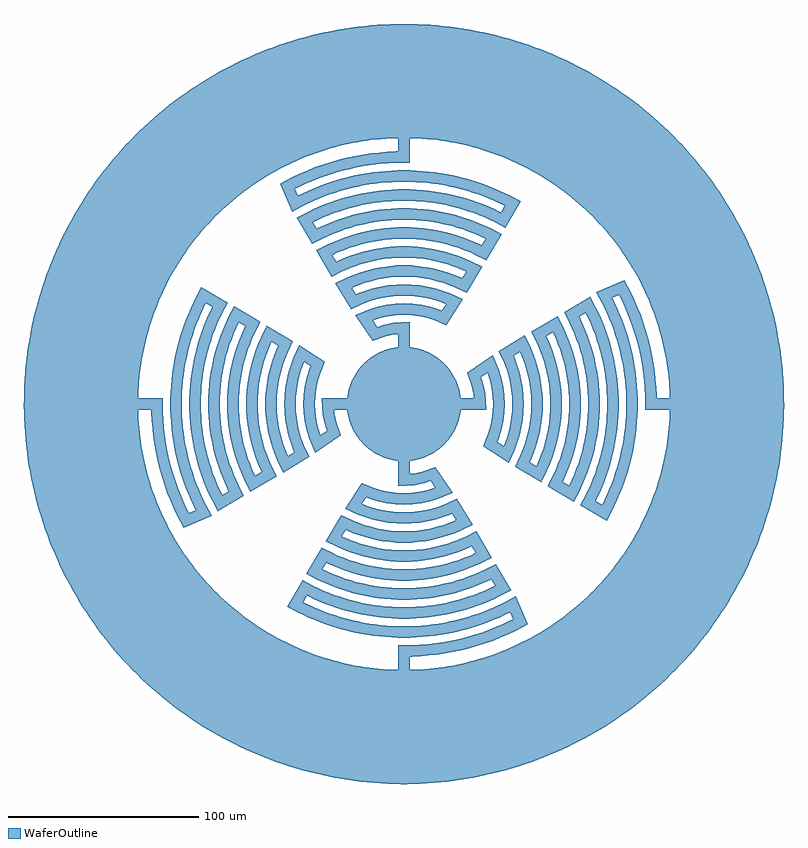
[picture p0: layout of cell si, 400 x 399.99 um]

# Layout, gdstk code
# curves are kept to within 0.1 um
import gdstk
lib = gdstk.Library(unit=1e-6, precision=1e-09)
def P(c, l, *ps):  # polygons
    for p in ps: c.add(gdstk.Polygon(p, *l))
WaferOutline = (1, 0)

c_si = lib.new_cell('si')
P(c_si, WaferOutline, [(-0.263,-29.999),(-3.406,-29.806),(-5.997,-29.394),(-8.544,-28.758),(-11.511,-27.704),(-13.888,-26.592),(-16.599,-24.99),(-19.127,-23.112),(-21.074,-21.352),(-23.196,-19.025),(-24.77,-16.925),(-26.407,-14.236),(-27.754,-11.389),(-28.795,-8.418),(-29.42,-5.869),(-29.821,-3.275),(-30,-0.131),(-29.848,3.014),(-29.471,5.611),(-28.72,8.669),(-27.853,11.146),(-26.531,14.004),(-24.917,16.708),(-23.361,18.822),(-21.26,21.167),(-18.924,23.279),(-16.817,24.843),(-14.581,26.218),(-11.753,27.602),(-8.795,28.682),(-5.74,29.446),(-3.145,29.835),(0,30),(3.145,29.835),(5.74,29.446),(8.795,28.682),(11.753,27.602),(14.581,26.218),(16.817,24.843),(18.924,23.279),(21.26,21.167),(23.361,18.822),(24.917,16.708),(26.531,14.004),(27.853,11.146),(28.72,8.669),(29.471,5.611),(29.848,3.014),(30,-0.131),(29.821,-3.275),(29.42,-5.869),(28.795,-8.418),(27.754,-11.389),(26.407,-14.236),(24.77,-16.925),(23.196,-19.025),(21.074,-21.352),(19.127,-23.112),(16.599,-24.99),(13.888,-26.592),(11.511,-27.704),(8.544,-28.758),(5.482,-29.495),(2.36,-29.907)],
  [(-1.75,-199.992),(-8.748,-199.809),(-19.222,-199.074),(-29.644,-197.791),(-39.983,-195.963),(-50.212,-193.594),(-60.303,-190.692),(-70.228,-187.265),(-79.959,-183.321),(-89.47,-178.872),(-98.734,-173.93),(-104.761,-170.368),(-113.558,-164.635),(-122.041,-158.448),(-130.189,-151.825),(-135.422,-147.176),(-142.96,-139.866),(-150.103,-132.17),(-156.833,-124.111),(-163.13,-115.709),(-167.08,-109.929),(-172.619,-101.009),(-177.682,-91.81),(-182.255,-82.359),(-186.327,-72.68),(-188.756,-66.115),(-191.966,-56.117),(-194.646,-45.965),(-196.79,-35.687),(-198.392,-25.31),(-199.447,-14.863),(-199.845,-7.874),(-199.983,2.625),(-199.569,13.117),(-198.606,23.573),(-197.095,33.963),(-195.786,40.84),(-193.373,51.059),(-191.467,57.795),(-188.17,67.764),(-184.355,77.546),(-181.528,83.95),(-176.872,93.362),(-171.728,102.515),(-166.111,111.387),(-160.037,119.951),(-155.741,125.478),(-148.941,133.479),(-142.818,140),(0,140),(-7.347,139.807),(-17.109,138.951),(-26.787,137.414),(-33.962,135.818),(-41.043,133.849),(-50.305,130.65),(-59.321,126.811),(-65.894,123.523),(-72.286,119.895),(-80.496,114.544),(-86.396,110.162),(-93.891,103.849),(-100.925,97.027),(-105.878,91.596),(-112.026,83.966),(-116.278,77.971),(-120.21,71.761),(-124.935,63.176),(-129.048,54.282),(-131.719,47.435),(-134.715,38.105),(-136.529,30.982),(-138.362,21.356),(-139.292,14.065),(-139.838,6.736),(-139.966,-3.063),(-139.613,-10.404),(-138.543,-20.145),(-136.795,-29.786),(-135.043,-36.925),(-132.919,-43.961),(-129.518,-53.151),(-125.483,-62.081),(-122.052,-68.581),(-118.285,-74.892),(-112.756,-82.982),(-108.246,-88.785),(-101.77,-96.14),(-94.796,-103.023),(-89.258,-107.856),(-81.495,-113.836),(-75.408,-117.956),(-66.973,-122.942),(-60.428,-126.287),(-51.446,-130.205),(-44.542,-132.725),(-35.149,-135.516),(-27.988,-137.174),(-20.751,-138.454),(-11.015,-139.566),(-1.225,-139.995),(6.124,-139.866),(13.456,-139.352),(23.17,-138.069),(30.385,-136.663),(39.87,-134.203),(49.16,-131.085),(55.972,-128.325),(64.811,-124.095),(71.234,-120.523),(79.49,-115.245),(85.429,-110.914),(91.132,-106.278),(98.343,-99.643),(103.437,-94.344),(108.246,-88.785),(112.756,-82.982),(116.956,-76.95),(119.577,-72.81),(123.234,-66.434),(126.55,-59.875),(129.518,-53.151),(131.299,-48.586),(133.668,-41.628),(135.668,-34.555),(137.295,-27.388),(138.543,-20.145),(139.163,-15.284),(139.774,-7.959),(139.999,-0.613),(139.838,6.736),(139.292,14.065),(138.362,21.356),(137.529,26.185),(135.966,33.367),(134.715,38.105),(132.529,45.122),(129.978,52.016),(127.069,58.765),(124.935,63.176),(121.447,69.646),(117.625,75.924),(113.478,81.992),(109.019,87.835),(104.259,93.435),(99.211,98.778),(95.694,102.19),(90.199,107.071),(82.488,113.118),(74.373,118.611),(65.894,123.523),(57.092,127.83),(52.584,129.75),(45.702,132.33),(38.694,134.547),(33.962,135.818),(24.378,137.861),(14.675,139.229),(9.793,139.657),(2.45,139.979),(-142.818,140),(-136.705,145.985),(-128.855,152.959),(-120.65,159.51),(-112.113,165.622),(-103.266,171.278),(-94.135,176.462),(-84.744,181.159),(-78.352,184.013),(-68.587,187.872),(-58.632,191.213),(-48.516,194.026),(-38.267,196.305),(-27.912,198.043),(-17.48,199.235),(-10.496,199.724),(0,200),(10.496,199.724),(17.48,199.235),(27.912,198.043),(38.267,196.305),(48.516,194.026),(58.632,191.213),(68.587,187.872),(75.12,185.357),(84.744,181.159),(94.135,176.462),(100.253,173.059),(109.197,167.559),(117.84,161.597),(126.159,155.19),(134.129,148.355),(141.73,141.112),(148.941,133.479),(153.521,128.185),(160.037,119.951),(166.111,111.387),(171.728,102.515),(176.872,93.362),(181.528,83.95),(184.355,77.546),(188.17,67.764),(191.467,57.795),(194.237,47.667),(196.471,37.407),(198.163,27.045),(198.988,20.093),(199.768,9.622),(199.998,-0.875),(199.677,-11.37),(198.805,-21.834),(197.919,-28.778),(196.136,-39.125),(193.812,-49.365),(191.966,-56.117),(188.756,-66.115),(185.026,-75.93),(180.786,-85.536),(176.048,-94.906),(172.619,-101.009),(167.08,-109.929),(161.08,-118.546),(154.637,-126.836),(147.767,-134.777),(140.49,-142.346),(132.826,-149.523),(124.796,-156.288),(119.25,-160.56),(110.659,-166.597),(101.763,-172.175),(92.587,-177.279),(83.155,-181.893),(73.495,-186.007),(63.631,-189.608),(53.593,-192.686),(43.407,-195.233),(36.547,-196.632),(26.178,-198.279),(15.735,-199.38),(8.748,-199.809)])
c_si.add(gdstk.FlexPath([(0,0),(0,40),(-5.221,39.658),(-10.353,38.637),(-15.307,36.955),(-21.131,45.315),(-17.101,46.985),(-12.941,48.296),(-8.682,49.24),(-4.358,49.81),(0,50),(4.358,49.81),(8.682,49.24),(12.941,48.296),(17.101,46.985),(21.131,45.315),(26.537,53.812),(22.961,55.433),(19.286,56.816),(15.529,57.956),(11.705,58.847),(7.832,59.487),(3.924,59.872),(0,60),(-3.924,59.872),(-7.832,59.487),(-11.705,58.847),(-15.529,57.956),(-19.286,56.816),(-22.961,55.433),(-26.537,53.812),(-31.779,62.37),(-28.472,63.948),(-25.086,65.351),(-21.631,66.574),(-18.117,67.615),(-14.554,68.47),(-10.95,69.138),(-7.317,69.617),(-3.664,69.904),(0,70),(3.664,69.904),(7.317,69.617),(10.95,69.138),(14.554,68.47),(18.117,67.615),(21.631,66.574),(25.086,65.351),(28.472,63.948),(31.779,62.37),(36.94,70.961),(33.809,72.505),(30.615,73.91),(27.362,75.175),(24.056,76.297),(20.706,77.274),(17.315,78.104),(13.892,78.785),(10.442,79.316),(6.972,79.696),(3.49,79.924),(0,80),(-3.49,79.924),(-6.972,79.696),(-10.442,79.316),(-13.892,78.785),(-17.315,78.104),(-20.706,77.274),(-24.056,76.297),(-27.362,75.175),(-30.615,73.91),(-33.809,72.505),(-36.94,70.961),(-42.054,79.57),(-39.05,81.087),(-35.99,82.491),(-32.881,83.779),(-29.725,84.949),(-26.528,86.002),(-23.294,86.933),(-20.027,87.744),(-16.732,88.431),(-13.414,88.995),(-10.077,89.434),(-6.726,89.748),(-3.365,89.937),(0,90),(3.365,89.937),(6.726,89.748),(10.077,89.434),(13.414,88.995),(16.732,88.431),(20.027,87.744),(23.294,86.933),(26.528,86.002),(29.725,84.949),(32.881,83.779),(35.99,82.491),(39.05,81.087),(42.054,79.57),(47.14,88.192),(44.229,89.687),(41.271,91.086),(38.268,92.388),(35.225,93.591),(32.144,94.693),(29.028,95.694),(25.882,96.593),(22.708,97.388),(19.509,98.079),(16.29,98.664),(13.053,99.144),(9.802,99.518),(6.54,99.786),(3.272,99.946),(0,100),(-3.272,99.946),(-6.54,99.786),(-9.802,99.518),(-13.053,99.144),(-16.29,98.664),(-19.509,98.079),(-22.708,97.388),(-25.882,96.593),(-29.028,95.694),(-32.144,94.693),(-35.225,93.591),(-38.268,92.388),(-41.271,91.086),(-44.229,89.687),(-47.14,88.192),(-52.206,96.822),(-49.368,98.3),(-46.488,99.694),(-43.569,101.004),(-40.613,102.228),(-37.622,103.366),(-34.6,104.417),(-31.548,105.379),(-28.47,106.252),(-25.368,107.035),(-22.244,107.727),(-19.101,108.329),(-15.943,108.839),(-12.77,109.256),(-9.587,109.581),(-6.396,109.814),(-3.199,109.953),(0,110),(3.199,109.953),(6.396,109.814),(9.587,109.581),(12.77,109.256),(15.943,108.839),(19.101,108.329),(22.244,107.727),(25.368,107.035),(28.47,106.252),(31.548,105.379),(34.6,104.417),(37.622,103.366),(40.613,102.228),(43.569,101.004),(46.488,99.694),(49.368,98.3),(52.206,96.822),(57.259,105.458),(54.479,106.921),(51.661,108.31),(48.808,109.625),(45.922,110.866),(43.004,112.03),(40.057,113.117),(37.082,114.127),(34.082,115.058),(31.058,115.911),(28.013,116.684),(24.949,117.378),(21.868,117.991),(18.772,118.523),(15.663,118.973),(12.543,119.343),(9.415,119.63),(6.28,119.836),(3.141,119.959),(0,120),(-3.141,119.959),(-6.28,119.836),(-9.415,119.63),(-12.543,119.343),(-15.663,118.973),(-18.772,118.523),(-21.868,117.991),(-24.949,117.378),(-28.013,116.684),(-31.058,115.911),(-34.082,115.058),(-37.082,114.127),(-40.057,113.117),(-43.004,112.03),(-45.922,110.866),(-48.808,109.625),(-51.661,108.31),(-54.479,106.921),(-57.259,105.458),(-61.282,114.65),(-57.498,116.593),(-53.652,118.412),(-49.749,120.104),(-45.793,121.668),(-41.787,123.101),(-37.737,124.402),(-33.646,125.57),(-29.52,126.604),(-25.362,127.502),(-21.176,128.264),(-16.968,128.888),(-12.742,129.374),(-8.502,129.722),(-4.253,129.93),(0,130),(0,140)], 6, ends="flush", simple_path=True, layer=1, datatype=0))  # WaferOutline
c_si.add(gdstk.FlexPath([(0,0),(-40,0),(-39.658,-5.221),(-38.637,-10.353),(-36.955,-15.307),(-45.315,-21.131),(-46.985,-17.101),(-48.296,-12.941),(-49.24,-8.682),(-49.81,-4.358),(-50,0),(-49.81,4.358),(-49.24,8.682),(-48.296,12.941),(-46.985,17.101),(-45.315,21.131),(-53.812,26.537),(-55.433,22.961),(-56.816,19.286),(-57.956,15.529),(-58.847,11.705),(-59.487,7.832),(-59.872,3.924),(-60,0),(-59.872,-3.924),(-59.487,-7.832),(-58.847,-11.705),(-57.956,-15.529),(-56.816,-19.286),(-55.433,-22.961),(-53.812,-26.537),(-62.37,-31.779),(-63.948,-28.472),(-65.351,-25.086),(-66.574,-21.631),(-67.615,-18.117),(-68.47,-14.554),(-69.138,-10.95),(-69.617,-7.317),(-69.904,-3.664),(-70,0),(-69.904,3.664),(-69.617,7.317),(-69.138,10.95),(-68.47,14.554),(-67.615,18.117),(-66.574,21.631),(-65.351,25.086),(-63.948,28.472),(-62.37,31.779),(-70.961,36.94),(-72.505,33.809),(-73.91,30.615),(-75.175,27.362),(-76.297,24.056),(-77.274,20.706),(-78.104,17.315),(-78.785,13.892),(-79.316,10.442),(-79.696,6.972),(-79.924,3.49),(-80,0),(-79.924,-3.49),(-79.696,-6.972),(-79.316,-10.442),(-78.785,-13.892),(-78.104,-17.315),(-77.274,-20.706),(-76.297,-24.056),(-75.175,-27.362),(-73.91,-30.615),(-72.505,-33.809),(-70.961,-36.94),(-79.57,-42.054),(-81.087,-39.05),(-82.491,-35.99),(-83.779,-32.881),(-84.949,-29.725),(-86.002,-26.528),(-86.933,-23.294),(-87.744,-20.027),(-88.431,-16.732),(-88.995,-13.414),(-89.434,-10.077),(-89.748,-6.726),(-89.937,-3.365),(-90,0),(-89.937,3.365),(-89.748,6.726),(-89.434,10.077),(-88.995,13.414),(-88.431,16.732),(-87.744,20.027),(-86.933,23.294),(-86.002,26.528),(-84.949,29.725),(-83.779,32.881),(-82.491,35.99),(-81.087,39.05),(-79.57,42.054),(-88.192,47.14),(-89.687,44.229),(-91.086,41.271),(-92.388,38.268),(-93.591,35.225),(-94.693,32.144),(-95.694,29.028),(-96.593,25.882),(-97.388,22.708),(-98.079,19.509),(-98.664,16.29),(-99.144,13.053),(-99.518,9.802),(-99.786,6.54),(-99.946,3.272),(-100,0),(-99.946,-3.272),(-99.786,-6.54),(-99.518,-9.802),(-99.144,-13.053),(-98.664,-16.29),(-98.079,-19.509),(-97.388,-22.708),(-96.593,-25.882),(-95.694,-29.028),(-94.693,-32.144),(-93.591,-35.225),(-92.388,-38.268),(-91.086,-41.271),(-89.687,-44.229),(-88.192,-47.14),(-96.822,-52.206),(-98.3,-49.368),(-99.694,-46.488),(-101.004,-43.569),(-102.228,-40.613),(-103.366,-37.622),(-104.417,-34.6),(-105.379,-31.548),(-106.252,-28.47),(-107.035,-25.368),(-107.727,-22.244),(-108.329,-19.101),(-108.839,-15.943),(-109.256,-12.77),(-109.581,-9.587),(-109.814,-6.396),(-109.953,-3.199),(-110,0),(-109.953,3.199),(-109.814,6.396),(-109.581,9.587),(-109.256,12.77),(-108.839,15.943),(-108.329,19.101),(-107.727,22.244),(-107.035,25.368),(-106.252,28.47),(-105.379,31.548),(-104.417,34.6),(-103.366,37.622),(-102.228,40.613),(-101.004,43.569),(-99.694,46.488),(-98.3,49.368),(-96.822,52.206),(-105.458,57.259),(-106.921,54.479),(-108.31,51.661),(-109.625,48.808),(-110.866,45.922),(-112.03,43.004),(-113.117,40.057),(-114.127,37.082),(-115.058,34.082),(-115.911,31.058),(-116.684,28.013),(-117.378,24.949),(-117.991,21.868),(-118.523,18.772),(-118.973,15.663),(-119.343,12.543),(-119.63,9.415),(-119.836,6.28),(-119.959,3.141),(-120,0),(-119.959,-3.141),(-119.836,-6.28),(-119.63,-9.415),(-119.343,-12.543),(-118.973,-15.663),(-118.523,-18.772),(-117.991,-21.868),(-117.378,-24.949),(-116.684,-28.013),(-115.911,-31.058),(-115.058,-34.082),(-114.127,-37.082),(-113.117,-40.057),(-112.03,-43.004),(-110.866,-45.922),(-109.625,-48.808),(-108.31,-51.661),(-106.921,-54.479),(-105.458,-57.259),(-114.65,-61.282),(-116.593,-57.498),(-118.412,-53.652),(-120.104,-49.749),(-121.668,-45.793),(-123.101,-41.787),(-124.402,-37.737),(-125.57,-33.646),(-126.604,-29.52),(-127.502,-25.362),(-128.264,-21.176),(-128.888,-16.968),(-129.374,-12.742),(-129.722,-8.502),(-129.93,-4.253),(-130,0),(-140,0)], 6, ends="flush", simple_path=True, layer=1, datatype=0))  # WaferOutline
c_si.add(gdstk.FlexPath([(0,0),(0,-40),(5.221,-39.658),(10.353,-38.637),(15.307,-36.955),(21.131,-45.315),(17.101,-46.985),(12.941,-48.296),(8.682,-49.24),(4.358,-49.81),(0,-50),(-4.358,-49.81),(-8.682,-49.24),(-12.941,-48.296),(-17.101,-46.985),(-21.131,-45.315),(-26.537,-53.812),(-22.961,-55.433),(-19.286,-56.816),(-15.529,-57.956),(-11.705,-58.847),(-7.832,-59.487),(-3.924,-59.872),(0,-60),(3.924,-59.872),(7.832,-59.487),(11.705,-58.847),(15.529,-57.956),(19.286,-56.816),(22.961,-55.433),(26.537,-53.812),(31.779,-62.37),(28.472,-63.948),(25.086,-65.351),(21.631,-66.574),(18.117,-67.615),(14.554,-68.47),(10.95,-69.138),(7.317,-69.617),(3.664,-69.904),(0,-70),(-3.664,-69.904),(-7.317,-69.617),(-10.95,-69.138),(-14.554,-68.47),(-18.117,-67.615),(-21.631,-66.574),(-25.086,-65.351),(-28.472,-63.948),(-31.779,-62.37),(-36.94,-70.961),(-33.809,-72.505),(-30.615,-73.91),(-27.362,-75.175),(-24.056,-76.297),(-20.706,-77.274),(-17.315,-78.104),(-13.892,-78.785),(-10.442,-79.316),(-6.972,-79.696),(-3.49,-79.924),(0,-80),(3.49,-79.924),(6.972,-79.696),(10.442,-79.316),(13.892,-78.785),(17.315,-78.104),(20.706,-77.274),(24.056,-76.297),(27.362,-75.175),(30.615,-73.91),(33.809,-72.505),(36.94,-70.961),(42.054,-79.57),(39.05,-81.087),(35.99,-82.491),(32.881,-83.779),(29.725,-84.949),(26.528,-86.002),(23.294,-86.933),(20.027,-87.744),(16.732,-88.431),(13.414,-88.995),(10.077,-89.434),(6.726,-89.748),(3.365,-89.937),(0,-90),(-3.365,-89.937),(-6.726,-89.748),(-10.077,-89.434),(-13.414,-88.995),(-16.732,-88.431),(-20.027,-87.744),(-23.294,-86.933),(-26.528,-86.002),(-29.725,-84.949),(-32.881,-83.779),(-35.99,-82.491),(-39.05,-81.087),(-42.054,-79.57),(-47.14,-88.192),(-44.229,-89.687),(-41.271,-91.086),(-38.268,-92.388),(-35.225,-93.591),(-32.144,-94.693),(-29.028,-95.694),(-25.882,-96.593),(-22.708,-97.388),(-19.509,-98.079),(-16.29,-98.664),(-13.053,-99.144),(-9.802,-99.518),(-6.54,-99.786),(-3.272,-99.946),(0,-100),(3.272,-99.946),(6.54,-99.786),(9.802,-99.518),(13.053,-99.144),(16.29,-98.664),(19.509,-98.079),(22.708,-97.388),(25.882,-96.593),(29.028,-95.694),(32.144,-94.693),(35.225,-93.591),(38.268,-92.388),(41.271,-91.086),(44.229,-89.687),(47.14,-88.192),(52.206,-96.822),(49.368,-98.3),(46.488,-99.694),(43.569,-101.004),(40.613,-102.228),(37.622,-103.366),(34.6,-104.417),(31.548,-105.379),(28.47,-106.252),(25.368,-107.035),(22.244,-107.727),(19.101,-108.329),(15.943,-108.839),(12.77,-109.256),(9.587,-109.581),(6.396,-109.814),(3.199,-109.953),(0,-110),(-3.199,-109.953),(-6.396,-109.814),(-9.587,-109.581),(-12.77,-109.256),(-15.943,-108.839),(-19.101,-108.329),(-22.244,-107.727),(-25.368,-107.035),(-28.47,-106.252),(-31.548,-105.379),(-34.6,-104.417),(-37.622,-103.366),(-40.613,-102.228),(-43.569,-101.004),(-46.488,-99.694),(-49.368,-98.3),(-52.206,-96.822),(-57.259,-105.458),(-54.479,-106.921),(-51.661,-108.31),(-48.808,-109.625),(-45.922,-110.866),(-43.004,-112.03),(-40.057,-113.117),(-37.082,-114.127),(-34.082,-115.058),(-31.058,-115.911),(-28.013,-116.684),(-24.949,-117.378),(-21.868,-117.991),(-18.772,-118.523),(-15.663,-118.973),(-12.543,-119.343),(-9.415,-119.63),(-6.28,-119.836),(-3.141,-119.959),(0,-120),(3.141,-119.959),(6.28,-119.836),(9.415,-119.63),(12.543,-119.343),(15.663,-118.973),(18.772,-118.523),(21.868,-117.991),(24.949,-117.378),(28.013,-116.684),(31.058,-115.911),(34.082,-115.058),(37.082,-114.127),(40.057,-113.117),(43.004,-112.03),(45.922,-110.866),(48.808,-109.625),(51.661,-108.31),(54.479,-106.921),(57.259,-105.458),(61.282,-114.65),(57.498,-116.593),(53.652,-118.412),(49.749,-120.104),(45.793,-121.668),(41.787,-123.101),(37.737,-124.402),(33.646,-125.57),(29.52,-126.604),(25.362,-127.502),(21.176,-128.264),(16.968,-128.888),(12.742,-129.374),(8.502,-129.722),(4.253,-129.93),(0,-130),(0,-140)], 6, ends="flush", simple_path=True, layer=1, datatype=0))  # WaferOutline
c_si.add(gdstk.FlexPath([(0,0),(40,0),(39.658,5.221),(38.637,10.353),(36.955,15.307),(45.315,21.131),(46.985,17.101),(48.296,12.941),(49.24,8.682),(49.81,4.358),(50,0),(49.81,-4.358),(49.24,-8.682),(48.296,-12.941),(46.985,-17.101),(45.315,-21.131),(53.812,-26.537),(55.433,-22.961),(56.816,-19.286),(57.956,-15.529),(58.847,-11.705),(59.487,-7.832),(59.872,-3.924),(60,0),(59.872,3.924),(59.487,7.832),(58.847,11.705),(57.956,15.529),(56.816,19.286),(55.433,22.961),(53.812,26.537),(62.37,31.779),(63.948,28.472),(65.351,25.086),(66.574,21.631),(67.615,18.117),(68.47,14.554),(69.138,10.95),(69.617,7.317),(69.904,3.664),(70,0),(69.904,-3.664),(69.617,-7.317),(69.138,-10.95),(68.47,-14.554),(67.615,-18.117),(66.574,-21.631),(65.351,-25.086),(63.948,-28.472),(62.37,-31.779),(70.961,-36.94),(72.505,-33.809),(73.91,-30.615),(75.175,-27.362),(76.297,-24.056),(77.274,-20.706),(78.104,-17.315),(78.785,-13.892),(79.316,-10.442),(79.696,-6.972),(79.924,-3.49),(80,0),(79.924,3.49),(79.696,6.972),(79.316,10.442),(78.785,13.892),(78.104,17.315),(77.274,20.706),(76.297,24.056),(75.175,27.362),(73.91,30.615),(72.505,33.809),(70.961,36.94),(79.57,42.054),(81.087,39.05),(82.491,35.99),(83.779,32.881),(84.949,29.725),(86.002,26.528),(86.933,23.294),(87.744,20.027),(88.431,16.732),(88.995,13.414),(89.434,10.077),(89.748,6.726),(89.937,3.365),(90,0),(89.937,-3.365),(89.748,-6.726),(89.434,-10.077),(88.995,-13.414),(88.431,-16.732),(87.744,-20.027),(86.933,-23.294),(86.002,-26.528),(84.949,-29.725),(83.779,-32.881),(82.491,-35.99),(81.087,-39.05),(79.57,-42.054),(88.192,-47.14),(89.687,-44.229),(91.086,-41.271),(92.388,-38.268),(93.591,-35.225),(94.693,-32.144),(95.694,-29.028),(96.593,-25.882),(97.388,-22.708),(98.079,-19.509),(98.664,-16.29),(99.144,-13.053),(99.518,-9.802),(99.786,-6.54),(99.946,-3.272),(100,0),(99.946,3.272),(99.786,6.54),(99.518,9.802),(99.144,13.053),(98.664,16.29),(98.079,19.509),(97.388,22.708),(96.593,25.882),(95.694,29.028),(94.693,32.144),(93.591,35.225),(92.388,38.268),(91.086,41.271),(89.687,44.229),(88.192,47.14),(96.822,52.206),(98.3,49.368),(99.694,46.488),(101.004,43.569),(102.228,40.613),(103.366,37.622),(104.417,34.6),(105.379,31.548),(106.252,28.47),(107.035,25.368),(107.727,22.244),(108.329,19.101),(108.839,15.943),(109.256,12.77),(109.581,9.587),(109.814,6.396),(109.953,3.199),(110,0),(109.953,-3.199),(109.814,-6.396),(109.581,-9.587),(109.256,-12.77),(108.839,-15.943),(108.329,-19.101),(107.727,-22.244),(107.035,-25.368),(106.252,-28.47),(105.379,-31.548),(104.417,-34.6),(103.366,-37.622),(102.228,-40.613),(101.004,-43.569),(99.694,-46.488),(98.3,-49.368),(96.822,-52.206),(105.458,-57.259),(106.921,-54.479),(108.31,-51.661),(109.625,-48.808),(110.866,-45.922),(112.03,-43.004),(113.117,-40.057),(114.127,-37.082),(115.058,-34.082),(115.911,-31.058),(116.684,-28.013),(117.378,-24.949),(117.991,-21.868),(118.523,-18.772),(118.973,-15.663),(119.343,-12.543),(119.63,-9.415),(119.836,-6.28),(119.959,-3.141),(120,0),(119.959,3.141),(119.836,6.28),(119.63,9.415),(119.343,12.543),(118.973,15.663),(118.523,18.772),(117.991,21.868),(117.378,24.949),(116.684,28.013),(115.911,31.058),(115.058,34.082),(114.127,37.082),(113.117,40.057),(112.03,43.004),(110.866,45.922),(109.625,48.808),(108.31,51.661),(106.921,54.479),(105.458,57.259),(114.65,61.282),(116.593,57.498),(118.412,53.652),(120.104,49.749),(121.668,45.793),(123.101,41.787),(124.402,37.737),(125.57,33.646),(126.604,29.52),(127.502,25.362),(128.264,21.176),(128.888,16.968),(129.374,12.742),(129.722,8.502),(129.93,4.253),(130,0),(140,0)], 6, ends="flush", simple_path=True, layer=1, datatype=0))  # WaferOutline

lib.write_gds('si.gds')
